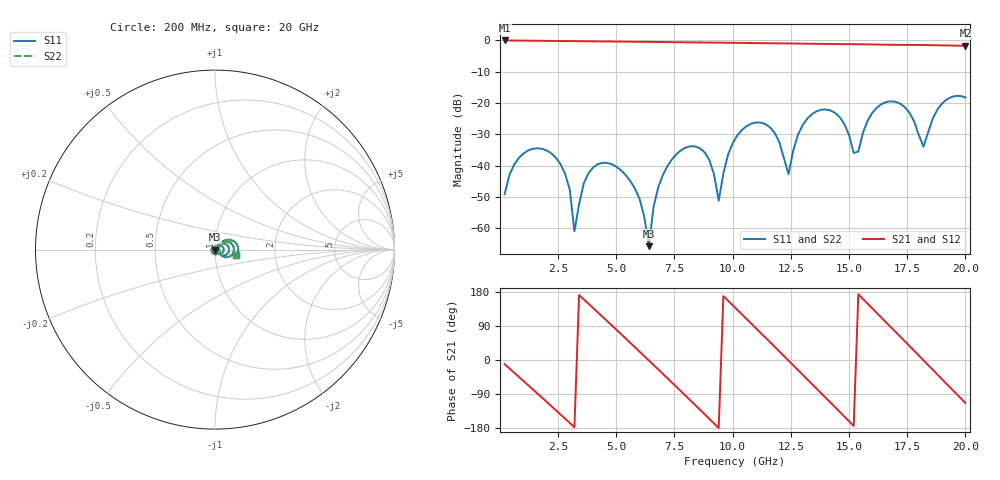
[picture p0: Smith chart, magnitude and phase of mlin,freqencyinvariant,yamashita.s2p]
! Created Wed May 11 08:01:21 2022
# hz S ma R 50
! 2 Port Network Data from SP1.SP block
! freq  magS11  angS11  magS21  angS21  magS12  angS12  magS22  angS22
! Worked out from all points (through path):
!   100 points, 200 MHz to 20 GHz, reference 50 ohm
!   highest |S21| = -0.02 dB at 200 MHz (marker M1); lowest = -1.7 dB at 20 GHz (marker M2)
!   group delay of S21, straight-line fit = 167 ps
!   lowest |S11| = -65.8 dB at 6.4 GHz (marker M3), VSWR 1.00, Z = 50 + j0.051 ohm
!   |S11| at or under -10 dB: start of sweep to end of sweep
!   |S22| runs from -65.8 to -17.7 dB; largest |S21 - S12| = 0
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2e8  0.003475 -121.7  0.998 -10.9  0.998 -10.9  0.003475 -121.7
1.8e9  0.01853 147.6  0.9846 -99.0  0.9846 -99.0  0.01853 147.6
2.8e9  0.007386 92.1  0.9765 -154.8  0.9765 -154.8  0.007386 92.1
3.2e9  0.0008872 95.0  0.9731 -177.3  0.9731 -177.3  0.0008872 95.0
3.6e9  0.005167 -145.1  0.9698 160.1  0.9698 160.1  0.005167 -145.1
5e9  0.009593 118.6  0.9581 80.1  0.9581 80.1  0.009593 118.6
6e9  0.002927 23.1  0.9496 22.1  0.9496 22.1  0.002927 23.1
6.4e9  0.0005132 83.2  0.9462 -1.3  0.9462 -1.3  0.0005132 83.2
6.8e9  0.004444 104.7  0.9428 -24.7  0.9428 -24.7  0.004444 104.7
8.2e9  0.02034 4.8  0.9305 -107.6  0.9305 -107.6  0.02034 4.8
9e9  0.01219 -40.2  0.9237 -155.3  0.9237 -155.3  0.01219 -40.2
9.4e9  0.002734 6.4  0.9203 -179.4  0.9203 -179.4  0.002734 6.4
1.02e10  0.03021 48.4  0.9131 132.4  0.9131 132.4  0.03021 48.4
1.1e10  0.04874 3.4  0.9054 83.9  0.9054 83.9  0.04874 3.4
1.2e10  0.02395 -45.5  0.8973 23.0  0.8973 23.0  0.02395 -45.5
1.24e10  0.007267 18.5  0.8942 -1.5  0.8942 -1.5  0.007267 18.5
1.34e10  0.06589 29.3  0.8838 -63.0  0.8838 -63.0  0.06589 29.3
1.46e10  0.05933 -33.8  0.8733 -136.8  0.8733 -136.8  0.05933 -33.8
1.52e10  0.01584 -26.5  0.8697 -174.0  0.8697 -174.0  0.01584 -26.5
1.68e10  0.1063 1.1  0.8511 86.5  0.8511 86.5  0.1063 1.1
1.82e10  0.02 7.3  0.8437 -0.8  0.8437 -0.8  0.02 7.3
2e10  0.1223 -15.6  0.822 -113.3  0.822 -113.3  0.1223 -15.6
